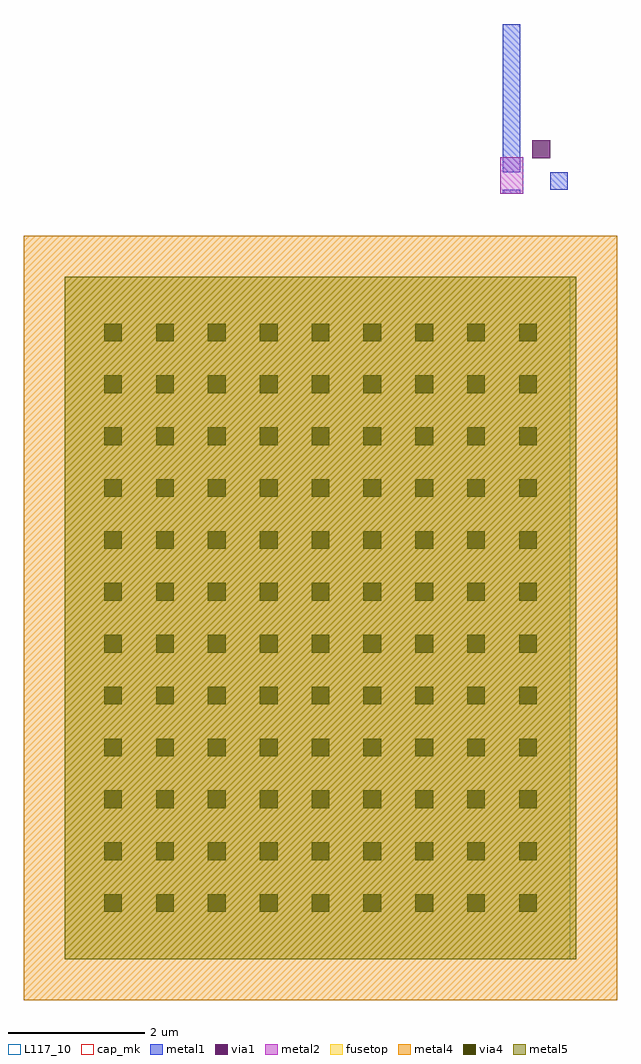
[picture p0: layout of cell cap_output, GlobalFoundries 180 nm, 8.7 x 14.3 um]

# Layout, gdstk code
from math import pi, radians
import gdstk
lib = gdstk.Library(unit=1e-6, precision=1e-09)
def R(c, l, rs):  # rectangles x0, y0, x1, y1
    for r in rs: c.add(gdstk.rectangle(r[:2], r[2:], *l))
def A(c, l, x, y, w, h, nx, ny, dx, dy):  # array of equal rectangles
    R(c, l, [(x+i*dx, y+j*dy, x+i*dx+w, y+j*dy+h) for i in range(nx) for j in range(ny)])
metal1 = (34, 0)
via1 = (35, 0)
metal2 = (36, 0)
via4 = (41, 0)
metal4 = (46, 0)
fusetop = (75, 0)
metal5 = (81, 0)
cap_mk = (117, 5)
L117_10 = (117, 10)

cap_mim = lib.new_cell('cap_mim')
A(cap_mim, via4, 0.69, 0.58, 0.26, 0.26, 12, 9, 0.76, 0.76)
R(cap_mim, metal4, [(-0.6,-0.6,10.6,8.1)])
R(cap_mim, fusetop, [(0,0,10,7.5)])
R(cap_mim, metal5, [(0,0,10,7.5)])
R(cap_mim, cap_mk, [(-0.6,-0.6,10.6,8.1)])
R(cap_mim, L117_10, [(0,0,10,0.1)])
cap_mim.add(gdstk.Label('t', (5,3.75), layer=81, texttype=10))
cap_mim.add(gdstk.Label('b', (5,-0.3), layer=46, texttype=10))

cap_output = lib.new_cell('cap_output')
R(cap_output, metal1, [(7.655,12.565,7.915,12.625), (8.35,12.625,8.61,12.885)])
R(cap_output, via1, [(8.09,13.09,8.35,13.35)])
R(cap_output, metal2, [(7.615,12.565,7.955,13.1)])
cap_output.add(gdstk.FlexPath([(7.785,12.885),(7.785,15.055)], 0.26, ends="flush", simple_path=True, layer=34, datatype=0))  # metal1
r = gdstk.Reference(cap_mim, (8.735,1.355), rotation=pi/2); r.repetition = gdstk.Repetition(1, 1, v1=(0,0), v2=(0,0)); cap_output.add(r)

lib.write_gds('cap_output.gds')
